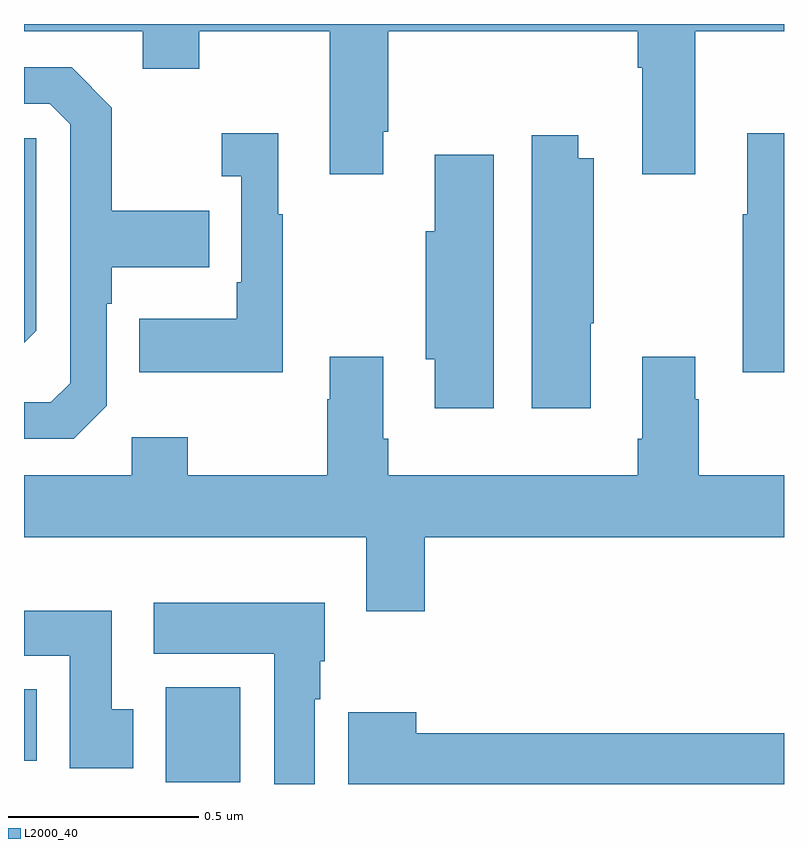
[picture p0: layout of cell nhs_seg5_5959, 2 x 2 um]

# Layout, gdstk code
import gdstk
lib = gdstk.Library(unit=1e-6, precision=1e-09)
def R(c, l, rs):  # rectangles x0, y0, x1, y1
    for r in rs: c.add(gdstk.rectangle(r[:2], r[2:], *l))
def P(c, l, *ps):  # polygons
    for p in ps: c.add(gdstk.Polygon(p, *l))
L2000_40 = (2000, 40)

nhs_seg5_5959 = lib.new_cell('nhs_seg5_5959')
R(nhs_seg5_5959, L2000_40, [(190.373,834.804,190.569,835.054), (190,834.86,190.033,835.048)])
P(nhs_seg5_5959, L2000_40, [(190.945,836.515),(190.958,836.515),(190.958,836.78),(191.615,836.78),(191.615,836.684),(191.627,836.684),(191.627,836.403),(191.767,836.403),(191.767,836.78),(192,836.78),(192,836.799),(190,836.799),(190,836.78),(190.313,836.78),(190.313,836.681),(190.461,836.681),(190.461,836.78),(190.805,836.78),(190.805,836.403),(190.945,836.403)],
  [(190.218,835.794),(190.218,836.063),(190.231,836.063),(190.231,836.159),(190.487,836.159),(190.487,836.307),(190.231,836.307),(190.231,836.579),(190.125,836.685),(190,836.685),(190,836.589),(190.068,836.589),(190.122,836.535),(190.122,835.854),(190.071,835.803),(190,835.803),(190,835.707),(190.131,835.707)],
  [(190.681,836.299),(190.669,836.299),(190.669,836.512),(190.521,836.512),(190.521,836.399),(190.572,836.399),(190.572,836.119),(190.56,836.119),(190.56,836.023),(190.303,836.023),(190.303,835.883),(190.681,835.883)],
  [(192,836.512),(191.903,836.512),(191.903,836.299),(191.892,836.299),(191.892,835.883),(192,835.883)],
  [(191.491,836.011),(191.499,836.011),(191.499,836.446),(191.458,836.446),(191.458,836.506),(191.336,836.506),(191.336,835.788),(191.491,835.788)],
  [(190.032,835.992),(190.032,836.499),(190,836.499),(190,835.96)],
  [(191.236,836.455),(191.081,836.455),(191.081,836.253),(191.057,836.253),(191.057,835.917),(191.081,835.917),(191.081,835.788),(191.236,835.788)],
  [(191.054,835.448),(192,835.448),(192,835.612),(191.775,835.612),(191.775,835.811),(191.767,835.811),(191.767,835.924),(191.627,835.924),(191.627,835.708),(191.615,835.708),(191.615,835.612),(190.958,835.612),(190.958,835.708),(190.945,835.708),(190.945,835.924),(190.805,835.924),(190.805,835.811),(190.798,835.811),(190.798,835.612),(190.431,835.612),(190.431,835.711),(190.284,835.711),(190.284,835.612),(190,835.612),(190,835.448),(190.901,835.448),(190.901,835.254),(191.054,835.254)],
  [(190.765,835.022),(190.78,835.022),(190.78,835.122),(190.792,835.122),(190.792,835.276),(190.341,835.276),(190.341,835.142),(190.658,835.142),(190.658,834.799),(190.765,834.799)],
  [(190.288,834.996),(190.231,834.996),(190.231,835.255),(190,835.255),(190,835.136),(190.121,835.136),(190.121,834.84),(190.288,834.84)],
  [(192,834.932),(191.032,834.932),(191.032,834.988),(190.853,834.988),(190.853,834.799),(192,834.799)])

lib.write_gds('nhs_seg5_5959.gds')
